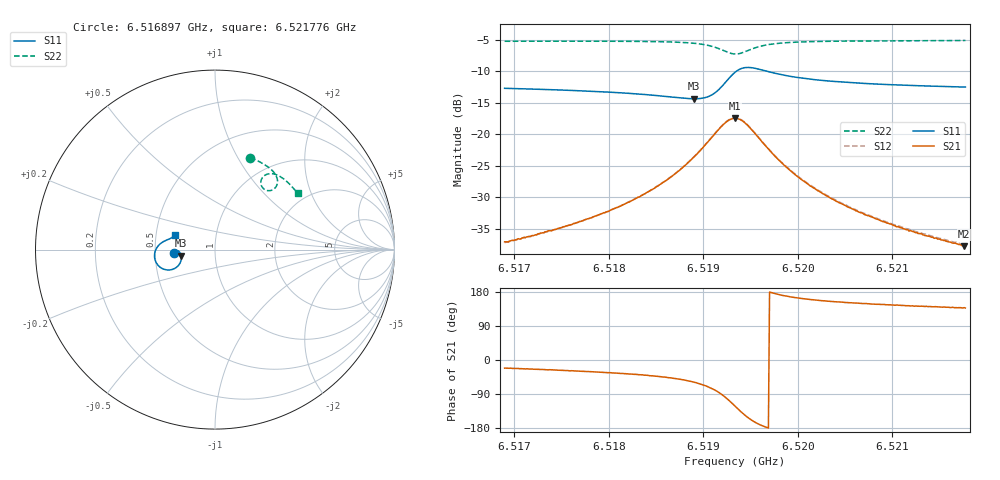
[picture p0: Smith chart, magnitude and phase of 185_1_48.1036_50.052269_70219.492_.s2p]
#  HZ  S  RI  R  50.00
! Rohde & Schwarz Vector Network Analyzer
! Rohde-Schwarz,ZNB20-2Port,1311601062101988,3.16
! Created: UTC 12/23/2023, 3:53:11 AM
! freq[Hz]  re:S11  im:S11  re:S21  im:S21  re:S12  im:S12  re:S22  im:S22
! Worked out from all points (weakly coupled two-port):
!   401 points, 6.516897 GHz to 6.521776 GHz, reference 50 ohm
!   highest |S21| = -17.46 dB at 6.519337 GHz (marker M1); lowest = -37.8 dB at 6.521764 GHz (marker M2)
!   lowest |S11| = -14.4 dB at 6.518898 GHz (marker M3), VSWR 1.47, Z = 34.1 - j2.36 ohm
!   |S11| at or under -10 dB: start of sweep to 6.51935 GHz; 6.519678 GHz to end of sweep
!   |S22| runs from -7.3 to -5.1 dB; largest |S21 - S12| = 0.0042
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6.5168972e9  -0.231 -0.019  0.013 -0.00513  0.013 -0.00459  0.196 0.5119
6.5172143e9  -0.2277 -0.0141  0.0143 -0.00651  0.0145 -0.0061  0.2195 0.5024
6.5177144e9  -0.2212 -0.00778  0.0177 -0.0102  0.0181 -0.00958  0.2565 0.485
6.5181779e9  -0.2122 -0.00549  0.0227 -0.0165  0.0232 -0.0159  0.2913 0.4635
6.5185317e9  -0.2018 -0.00944  0.0285 -0.0271  0.0295 -0.0263  0.3186 0.4409
6.5187268e9  -0.1946 -0.0177  0.0324 -0.0383  0.0337 -0.0374  0.3336 0.4232
6.5188976e9  -0.1884 -0.0333  0.0345 -0.0556  0.0364 -0.0547  0.3449 0.4007
6.5190074e9  -0.1875 -0.0512  0.0321 -0.0732  0.0346 -0.0727  0.3484 0.3807
6.519105e9  -0.1945 -0.0746  0.0221 -0.0947  0.0251 -0.0945  0.3441 0.3579
6.5192391e9  -0.2357 -0.1099  -0.0201 -0.1226  -0.0166 -0.124  0.3128 0.3298
6.5193367e9  -0.2918 -0.1066  -0.0702 -0.1141  -0.0673 -0.1169  0.2744 0.3364
6.5193855e9  -0.3163 -0.0887  -0.09 -0.0957  -0.0879 -0.0991  0.2608 0.3519
6.5194465e9  -0.3337 -0.0581  -0.1021 -0.0673  -0.101 -0.0709  0.2553 0.3751
6.5195563e9  -0.3332 -0.00894  -0.0964 -0.0253  -0.0964 -0.0285  0.2694 0.4072
6.519666e9  -0.3173 0.0198  -0.0798 -0.00341  -0.0803 -0.00581  0.292 0.4205
6.5198856e9  -0.2884 0.0437  -0.0531 0.0109  -0.054 0.0096  0.329 0.4212
6.520154e9  -0.2674 0.0539  -0.0356 0.0135  -0.0364 0.0127  0.3595 0.4091
6.5205443e9  -0.2502 0.0614  -0.0229 0.0125  -0.0236 0.0121  0.3911 0.3872
6.5209712e9  -0.2385 0.0675  -0.016 0.0109  -0.0165 0.0107  0.4182 0.3621
6.5213493e9  -0.2309 0.0729  -0.0122 0.00978  -0.0129 0.00961  0.4389 0.3393
6.5217641e9  -0.2238 0.0786  -0.00961 0.00858  -0.01 0.00881  0.4595 0.3137
6.5217763e9  -0.2235 0.0788  -0.00958 0.00886  -0.01 0.00865  0.4597 0.3129
